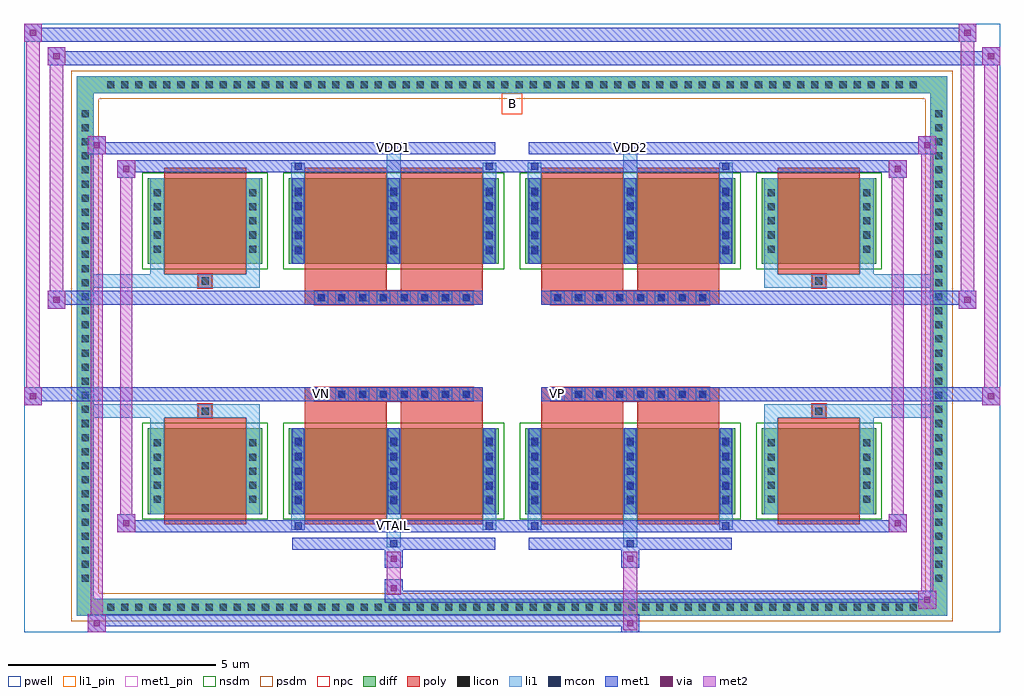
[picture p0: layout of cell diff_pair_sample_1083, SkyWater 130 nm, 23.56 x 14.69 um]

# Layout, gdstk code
import gdstk
lib = gdstk.Library(unit=1e-6, precision=5e-09)
def R(c, l, rs):  # rectangles x0, y0, x1, y1
    for r in rs: c.add(gdstk.rectangle(r[:2], r[2:], *l))
def A(c, l, x, y, w, h, nx, ny, dx, dy):  # array of equal rectangles
    R(c, l, [(x+i*dx, y+j*dy, x+i*dx+w, y+j*dy+h) for i in range(nx) for j in range(ny)])
def P(c, l, *ps):  # polygons
    for p in ps: c.add(gdstk.Polygon(p, *l))
pwell = (64, 44)
diff = (65, 20)
poly = (66, 20)
licon = (66, 44)
li1_pin = (67, 16)
li1 = (67, 20)
mcon = (67, 44)
met1_pin = (68, 16)
met1 = (68, 20)
via = (68, 44)
met2 = (69, 20)
nsdm = (93, 44)
psdm = (94, 20)
npc = (95, 20)

diff_pair_sample_1083 = lib.new_cell('diff_pair_sample_1083')
R(diff_pair_sample_1083, pwell, [(-11.78,-6.91,11.78,7.78), (-9.1,-5.1,-0.01,-0.8), (0.01,-5.1,9.1,-0.8), (-9.1,0.8,-0.01,5.1), (0.01,0.8,9.1,5.1)])
A(diff_pair_sample_1083, diff, -9.895, -6.51, 0.41, 0.41, 58, 2, 0.34, 12.61)
A(diff_pair_sample_1083, diff, -10.51, -5.815, 0.41, 0.41, 1, 34, 0, 0.34)
A(diff_pair_sample_1083, diff, 10.1, -5.815, 0.41, 0.41, 1, 34, 0, 0.34)
R(diff_pair_sample_1083, diff, [(-9.895,-6.51,9.895,-6.1), (-10.51,-5.815,-10.1,5.815), (10.1,-5.815,10.51,5.815), (-8.79,-4.055,-6.03,-1.985), (-5.39,-4.055,-0.32,-1.985), (0.32,-4.055,5.39,-1.985), (6.03,-4.055,8.79,-1.985), (-8.79,1.985,-6.03,4.055), (-5.39,1.985,-0.32,4.055), (0.32,1.985,5.39,4.055), (6.03,1.985,8.79,4.055), (-9.895,6.1,9.895,6.51)])
P(diff_pair_sample_1083, diff, [(10.51,6.51),(-10.51,6.51),(-10.51,-6.1),(-10.1,-6.1),(-10.1,6.1),(10.1,6.1),(10.1,-6.1),(-10.1,-6.1),(-10.51,-6.1),(-10.51,-6.51),(10.51,-6.51)])
A(diff_pair_sample_1083, poly, -4.77, -1.33, 0.33, 0.33, 8, 2, 0.5, 2.33)
A(diff_pair_sample_1083, poly, 0.94, -1.33, 0.33, 0.33, 8, 2, 0.5, 2.33)
R(diff_pair_sample_1083, poly, [(-8.4,-4.305,-6.42,-1.735), (-5,-4.305,-3.02,-1.735), (-2.69,-4.305,-0.71,-1.735), (0.71,-4.305,2.69,-1.735), (3.02,-4.305,5,-1.735), (6.42,-4.305,8.4,-1.735), (-7.575,-1.735,-7.245,-1.405), (-7.575,-1.735,-7.245,-1.405), (-5,-1.735,-3.02,-1.33), (-2.69,-1.735,-0.71,-1.33), (0.71,-1.735,2.69,-1.33), (3.02,-1.735,5,-1.33), (7.245,-1.735,7.575,-1.405), (7.245,-1.735,7.575,-1.405), (-5,-1.33,-0.71,-1), (0.71,-1.33,5,-1), (-5,1,-0.71,1.33), (0.71,1,5,1.33), (-5,1.33,-3.02,1.735), (-2.69,1.33,-0.71,1.735), (0.71,1.33,2.69,1.735), (3.02,1.33,5,1.735), (-7.575,1.405,-7.245,1.735), (-7.575,1.405,-7.245,1.735), (7.245,1.405,7.575,1.735), (7.245,1.405,7.575,1.735), (-8.4,1.735,-6.42,4.305), (-5,1.735,-3.02,4.305), (-2.69,1.735,-0.71,4.305), (0.71,1.735,2.69,4.305), (3.02,1.735,5,4.305), (6.42,1.735,8.4,4.305)])
A(diff_pair_sample_1083, licon, -9.775, -6.39, 0.17, 0.17, 58, 2, 0.34, 12.61)
A(diff_pair_sample_1083, licon, -10.39, -5.695, 0.17, 0.17, 1, 34, 0, 0.34)
A(diff_pair_sample_1083, licon, 10.22, -5.695, 0.17, 0.17, 1, 34, 0, 0.34)
A(diff_pair_sample_1083, licon, -8.65, -3.785, 0.17, 0.17, 1, 5, 0, 0.34)
A(diff_pair_sample_1083, licon, -6.34, -3.785, 0.17, 0.17, 1, 5, 0, 0.34)
A(diff_pair_sample_1083, licon, -5.25, -3.785, 0.17, 0.17, 3, 5, 2.31, 0.34)
A(diff_pair_sample_1083, licon, 0.46, -3.785, 0.17, 0.17, 3, 5, 2.31, 0.34)
A(diff_pair_sample_1083, licon, 6.17, -3.785, 0.17, 0.17, 1, 5, 0, 0.34)
A(diff_pair_sample_1083, licon, 8.48, -3.785, 0.17, 0.17, 1, 5, 0, 0.34)
A(diff_pair_sample_1083, licon, -4.69, -1.25, 0.17, 0.17, 8, 2, 0.5, 2.33)
A(diff_pair_sample_1083, licon, 1.02, -1.25, 0.17, 0.17, 8, 2, 0.5, 2.33)
A(diff_pair_sample_1083, licon, -8.65, 2.255, 0.17, 0.17, 1, 5, 0, 0.34)
A(diff_pair_sample_1083, licon, -6.34, 2.255, 0.17, 0.17, 1, 5, 0, 0.34)
A(diff_pair_sample_1083, licon, -5.25, 2.255, 0.17, 0.17, 3, 5, 2.31, 0.34)
A(diff_pair_sample_1083, licon, 0.46, 2.255, 0.17, 0.17, 3, 5, 2.31, 0.34)
A(diff_pair_sample_1083, licon, 6.17, 2.255, 0.17, 0.17, 1, 5, 0, 0.34)
A(diff_pair_sample_1083, licon, 8.48, 2.255, 0.17, 0.17, 1, 5, 0, 0.34)
R(diff_pair_sample_1083, licon, [(-7.495,-1.655,-7.325,-1.485), (7.325,-1.655,7.495,-1.485), (-7.495,1.485,-7.325,1.655), (7.325,1.485,7.495,1.655)])
R(diff_pair_sample_1083, li1_pin, [(-0.25,5.6,0.25,6.1)])
A(diff_pair_sample_1083, li1, -9.855, -6.47, 0.33, 0.33, 58, 2, 0.34, 12.61)
A(diff_pair_sample_1083, li1, -10.47, -5.775, 0.33, 0.33, 1, 34, 0, 0.34)
A(diff_pair_sample_1083, li1, 10.14, -5.775, 0.33, 0.33, 1, 34, 0, 0.34)
A(diff_pair_sample_1083, li1, -5.33, -4.055, 0.33, 2.07, 3, 2, 2.31, 6.04)
A(diff_pair_sample_1083, li1, 0.38, -4.055, 0.33, 2.07, 3, 2, 2.31, 6.04)
A(diff_pair_sample_1083, li1, -8.73, -3.865, 0.33, 0.33, 1, 5, 0, 0.34)
A(diff_pair_sample_1083, li1, -6.42, -3.865, 0.33, 0.33, 1, 5, 0, 0.34)
A(diff_pair_sample_1083, li1, -5.33, -3.865, 0.33, 0.33, 3, 5, 2.31, 0.34)
A(diff_pair_sample_1083, li1, 0.38, -3.865, 0.33, 0.33, 3, 5, 2.31, 0.34)
A(diff_pair_sample_1083, li1, 6.09, -3.865, 0.33, 0.33, 1, 5, 0, 0.34)
A(diff_pair_sample_1083, li1, 8.4, -3.865, 0.33, 0.33, 1, 5, 0, 0.34)
A(diff_pair_sample_1083, li1, -5.25, -3.825, 0.17, 0.17, 3, 5, 2.31, 0.36)
A(diff_pair_sample_1083, li1, -5.25, -3.825, 0.17, 1.61, 3, 2, 2.31, 6.04)
A(diff_pair_sample_1083, li1, 0.46, -3.825, 0.17, 0.17, 3, 5, 2.31, 0.36)
A(diff_pair_sample_1083, li1, 0.46, -3.825, 0.17, 1.61, 3, 2, 2.31, 6.04)
A(diff_pair_sample_1083, li1, -4.77, -1.33, 0.33, 0.33, 8, 2, 0.5, 2.33)
A(diff_pair_sample_1083, li1, 0.94, -1.33, 0.33, 0.33, 8, 2, 0.5, 2.33)
A(diff_pair_sample_1083, li1, -8.73, 2.175, 0.33, 0.33, 1, 5, 0, 0.34)
A(diff_pair_sample_1083, li1, -6.42, 2.175, 0.33, 0.33, 1, 5, 0, 0.34)
A(diff_pair_sample_1083, li1, -5.33, 2.175, 0.33, 0.33, 3, 5, 2.31, 0.34)
A(diff_pair_sample_1083, li1, 0.38, 2.175, 0.33, 0.33, 3, 5, 2.31, 0.34)
A(diff_pair_sample_1083, li1, 6.09, 2.175, 0.33, 0.33, 1, 5, 0, 0.34)
A(diff_pair_sample_1083, li1, 8.4, 2.175, 0.33, 0.33, 1, 5, 0, 0.34)
A(diff_pair_sample_1083, li1, -5.25, 2.215, 0.17, 0.17, 3, 5, 2.31, 0.36)
A(diff_pair_sample_1083, li1, 0.46, 2.215, 0.17, 0.17, 3, 5, 2.31, 0.36)
R(diff_pair_sample_1083, li1, [(-10.51,-6.51,-10.1,-6.1), (-10.51,-6.51,-10.1,-6.1), (-10.1,-6.51,10.1,-6.1), (10.1,-6.51,10.51,-6.1), (10.1,-6.51,10.51,-6.1), (-10.51,-6.1,-10.1,6.1), (10.1,-6.1,10.51,6.1), (-3.02,-4.86,-2.69,-4.055), (-2.94,-4.86,-2.77,-4.69), (2.69,-4.86,3.02,-4.055), (2.77,-4.86,2.94,-4.69), (-5.33,-4.43,-5,-4.055), (-5.25,-4.43,-5.08,-4.26), (-0.71,-4.43,-0.38,-4.055), (-0.63,-4.43,-0.46,-4.26), (0.38,-4.43,0.71,-4.055), (0.46,-4.43,0.63,-4.26), (5,-4.43,5.33,-4.055), (5.08,-4.43,5.25,-4.26), (-8.73,-4.055,-8.4,-1.985), (-6.42,-4.055,-6.09,-1.985), (6.09,-4.055,6.42,-1.985), (8.4,-4.055,8.73,-1.985), (-8.73,-1.985,-8.4,-1.405), (-6.42,-1.985,-6.09,-1.405), (6.09,-1.985,6.42,-1.405), (8.4,-1.985,8.73,-1.405), (-10.51,-1.735,-7.575,-1.405), (-8.73,-1.735,-7.575,-1.405), (-7.575,-1.735,-7.245,-1.405), (-7.245,-1.735,-6.09,-1.405), (6.09,-1.735,7.245,-1.405), (7.245,-1.735,7.575,-1.405), (7.245,-1.735,10.51,-1.405), (7.575,-1.735,8.73,-1.405), (-10.51,1.405,-7.575,1.735), (-8.73,1.405,-7.575,1.735), (-8.73,1.405,-8.4,1.985), (-7.575,1.405,-7.245,1.735), (-7.245,1.405,-6.09,1.735), (-6.42,1.405,-6.09,1.985), (6.09,1.405,7.245,1.735), (6.09,1.405,6.42,1.985), (7.245,1.405,7.575,1.735), (7.245,1.405,10.51,1.735), (7.575,1.405,8.73,1.735), (8.4,1.405,8.73,1.985), (-8.73,1.985,-8.4,4.055), (-6.42,1.985,-6.09,4.055), (6.09,1.985,6.42,4.055), (8.4,1.985,8.73,4.055), (-5.33,4.055,-5,4.43), (-3.02,4.055,-2.69,4.86), (-0.71,4.055,-0.38,4.43), (0.38,4.055,0.71,4.43), (2.69,4.055,3.02,4.86), (5,4.055,5.33,4.43), (-5.25,4.26,-5.08,4.43), (-0.63,4.26,-0.46,4.43), (0.46,4.26,0.63,4.43), (5.08,4.26,5.25,4.43), (-2.94,4.69,-2.77,4.86), (2.77,4.69,2.94,4.86), (-10.51,6.1,-10.1,6.51), (-10.51,6.1,-10.1,6.51), (-10.1,6.1,10.1,6.51), (10.1,6.1,10.51,6.51), (10.1,6.1,10.51,6.51)])
A(diff_pair_sample_1083, mcon, -5.25, -3.825, 0.17, 0.17, 3, 5, 2.31, 0.36)
A(diff_pair_sample_1083, mcon, 0.46, -3.825, 0.17, 0.17, 3, 5, 2.31, 0.36)
A(diff_pair_sample_1083, mcon, -4.69, -1.25, 0.17, 0.17, 8, 2, 0.5, 2.33)
A(diff_pair_sample_1083, mcon, 1.02, -1.25, 0.17, 0.17, 8, 2, 0.5, 2.33)
A(diff_pair_sample_1083, mcon, -5.25, 2.215, 0.17, 0.17, 3, 5, 2.31, 0.36)
A(diff_pair_sample_1083, mcon, 0.46, 2.215, 0.17, 0.17, 3, 5, 2.31, 0.36)
R(diff_pair_sample_1083, mcon, [(-2.94,-4.86,-2.77,-4.69), (2.77,-4.86,2.94,-4.69), (-5.25,-4.43,-5.08,-4.26), (-0.63,-4.43,-0.46,-4.26), (0.46,-4.43,0.63,-4.26), (5.08,-4.43,5.25,-4.26), (-5.25,4.26,-5.08,4.43), (-0.63,4.26,-0.46,4.43), (0.46,4.26,0.63,4.43), (5.08,4.26,5.25,4.43), (-2.94,4.69,-2.77,4.86), (2.77,4.69,2.94,4.86)])
R(diff_pair_sample_1083, met1_pin, [(-2.99,-4.47,-2.72,-4.2), (-4.74,-1.29,-4.47,-1.02), (0.97,-1.29,1.24,-1.02), (-2.99,4.65,-2.72,4.92), (2.72,4.65,2.99,4.92)])
A(diff_pair_sample_1083, met1, -5.31, -4.055, 0.29, 2.07, 3, 2, 2.31, 6.04)
A(diff_pair_sample_1083, met1, 0.4, -4.055, 0.29, 2.07, 3, 2, 2.31, 6.04)
A(diff_pair_sample_1083, met1, -5.31, -3.885, 0.29, 0.29, 3, 5, 2.31, 0.36)
A(diff_pair_sample_1083, met1, 0.4, -3.885, 0.29, 0.29, 3, 5, 2.31, 0.36)
A(diff_pair_sample_1083, met1, -4.75, -1.31, 0.29, 0.29, 8, 2, 0.5, 2.33)
A(diff_pair_sample_1083, met1, 0.96, -1.31, 0.29, 0.29, 8, 2, 0.5, 2.33)
A(diff_pair_sample_1083, met1, -5.31, 2.155, 0.29, 0.29, 3, 5, 2.31, 0.36)
A(diff_pair_sample_1083, met1, 0.4, 2.155, 0.29, 0.29, 3, 5, 2.31, 0.36)
R(diff_pair_sample_1083, met1, [(-10.24,-6.91,-9.81,-6.48), (2.64,-6.91,3.07,-6.48), (-10.24,-6.77,3.07,-6.48), (9.81,-6.34,10.24,-5.91), (-3.07,-6.2,10.24,-5.91), (-3.07,-6.06,-2.64,-5.63), (-3.07,-5.35,-2.64,-4.92), (2.64,-5.35,3.07,-4.92), (-5.31,-4.92,-0.4,-4.63), (-3,-4.92,-2.71,-4.63), (0.4,-4.92,5.31,-4.63), (2.71,-4.92,3,-4.63), (-9.53,-4.49,-9.1,-4.06), (-9.53,-4.49,-5.31,-4.2), (-5.31,-4.49,-5.02,-4.2), (-5.31,-4.49,-0.4,-4.2), (-0.69,-4.49,-0.4,-4.2), (-0.4,-4.49,0.4,-4.2), (0.4,-4.49,0.69,-4.2), (0.4,-4.49,5.31,-4.2), (5.02,-4.49,5.31,-4.2), (5.31,-4.49,9.53,-4.2), (9.1,-4.49,9.53,-4.06), (-11.78,-1.43,-11.35,-1), (11.35,-1.43,11.78,-1), (-11.78,-1.33,-0.71,-1), (-5,-1.33,-0.71,-1), (0.71,-1.33,5,-1), (0.71,-1.33,11.78,-1), (-11.21,0.9,-10.78,1.33), (10.78,0.9,11.21,1.33), (-11.21,1,-5,1.33), (-5,1,-0.71,1.33), (0.71,1,5,1.33), (5,1,11.21,1.33), (-9.53,4.06,-9.1,4.49), (9.1,4.06,9.53,4.49), (-9.53,4.2,-5.31,4.49), (-5.31,4.2,-5.02,4.49), (-5.31,4.2,-0.4,4.49), (-0.69,4.2,-0.4,4.49), (-0.4,4.2,0.4,4.49), (0.4,4.2,0.69,4.49), (0.4,4.2,5.31,4.49), (5.02,4.2,5.31,4.49), (5.31,4.2,9.53,4.49), (-10.24,4.63,-9.81,5.06), (-10.24,4.63,-5.31,4.92), (-5.31,4.63,-0.4,4.92), (-3,4.63,-2.71,4.92), (0.4,4.63,5.31,4.92), (2.71,4.63,3,4.92), (5.31,4.63,10.24,4.92), (9.81,4.63,10.24,5.06), (-11.21,6.78,-10.78,7.21), (-11.21,6.78,-9.1,7.11), (-9.1,6.78,9.1,7.11), (9.1,6.78,11.78,7.11), (11.35,6.78,11.78,7.21), (-11.78,7.35,-11.35,7.78), (-11.78,7.35,-9.1,7.68), (-9.1,7.35,9.1,7.68), (9.1,7.35,11.21,7.68), (10.78,7.35,11.21,7.78)])
R(diff_pair_sample_1083, via, [(-10.1,-6.77,-9.95,-6.62), (2.78,-6.77,2.93,-6.62), (9.95,-6.2,10.1,-6.05), (-2.93,-5.92,-2.78,-5.77), (-2.93,-5.21,-2.78,-5.06), (2.78,-5.21,2.93,-5.06), (-9.39,-4.35,-9.24,-4.2), (9.24,-4.35,9.39,-4.2), (-11.64,-1.29,-11.49,-1.14), (11.49,-1.29,11.64,-1.14), (-11.07,1.04,-10.92,1.19), (10.92,1.04,11.07,1.19), (-9.39,4.2,-9.24,4.35), (9.24,4.2,9.39,4.35), (-10.1,4.77,-9.95,4.92), (9.95,4.77,10.1,4.92), (-11.07,6.92,-10.92,7.07), (11.49,6.92,11.64,7.07), (-11.64,7.49,-11.49,7.64), (10.92,7.49,11.07,7.64)])
R(diff_pair_sample_1083, met2, [(-10.24,-6.91,-9.81,-6.48), (-10.17,-6.91,-9.88,5.06), (-9.88,-6.91,-9.81,-6.48), (-10.19,-6.86,-9.86,-6.53), (2.69,-6.86,3.02,-6.53), (2.69,-6.53,3.02,-5.3), (9.81,-6.34,10.24,-5.91), (9.88,-6.34,10.17,5.06), (10.17,-6.34,10.24,-5.91), (9.86,-6.29,10.19,-5.96), (-3.02,-6.01,-2.69,-5.68), (-3.02,-5.68,-2.69,-5.3), (-3.02,-5.3,-2.69,-4.97), (2.69,-5.3,3.02,-4.97), (-9.53,-4.49,-9.1,-4.06), (-9.46,-4.49,-9.17,4.49), (-9.17,-4.49,-9.1,-4.06), (9.1,-4.49,9.53,-4.06), (9.17,-4.49,9.46,4.49), (9.46,-4.49,9.53,-4.06), (-9.48,-4.44,-9.15,-4.11), (9.15,-4.44,9.48,-4.11), (-11.78,-1.43,-11.35,-1), (-11.73,-1.43,-11.4,7.78), (-11.4,-1.43,-11.35,-1), (11.35,-1.43,11.78,-1), (11.4,-1.43,11.73,7.21), (11.73,-1.43,11.78,-1), (-11.73,-1.38,-11.4,-1.05), (11.4,-1.38,11.73,-1.05), (-11.21,0.9,-10.78,1.33), (-11.16,0.9,-10.83,7.21), (-10.83,0.9,-10.78,1.33), (10.78,0.9,11.21,1.33), (10.83,0.9,11.16,7.78), (11.16,0.9,11.21,1.33), (-11.16,0.95,-10.83,1.28), (10.83,0.95,11.16,1.28), (-9.53,4.06,-9.1,4.49), (-9.17,4.06,-9.1,4.49), (9.1,4.06,9.53,4.49), (9.46,4.06,9.53,4.49), (-9.48,4.11,-9.15,4.44), (9.15,4.11,9.48,4.44), (-10.24,4.63,-9.81,5.06), (-9.88,4.63,-9.81,5.06), (9.81,4.63,10.24,5.06), (10.17,4.63,10.24,5.06), (-10.19,4.68,-9.86,5.01), (9.86,4.68,10.19,5.01), (-11.21,6.78,-10.78,7.21), (-10.83,6.78,-10.78,7.21), (11.35,6.78,11.78,7.21), (11.73,6.78,11.78,7.21), (-11.16,6.83,-10.83,7.16), (11.4,6.83,11.73,7.16), (-11.78,7.35,-11.35,7.78), (-11.4,7.35,-11.35,7.78), (10.78,7.35,11.21,7.78), (11.16,7.35,11.21,7.78), (-11.73,7.4,-11.4,7.73), (10.83,7.4,11.16,7.73)])
R(diff_pair_sample_1083, nsdm, [(-8.92,-4.185,-5.9,-1.855), (-5.52,-4.185,-0.19,-1.855), (0.19,-4.185,5.52,-1.855), (5.9,-4.185,8.92,-1.855), (-8.92,1.855,-5.9,4.185), (-5.52,1.855,-0.19,4.185), (0.19,1.855,5.52,4.185), (5.9,1.855,8.92,4.185)])
P(diff_pair_sample_1083, psdm, [(10.64,6.64),(-10.64,6.64),(-10.64,-5.97),(-9.97,-5.97),(-9.97,5.97),(9.97,5.97),(9.97,-5.97),(-9.97,-5.97),(-10.64,-5.97),(-10.64,-6.64),(10.64,-6.64)])
A(diff_pair_sample_1083, npc, -4.79, -1.35, 0.37, 0.37, 8, 2, 0.5, 2.33)
A(diff_pair_sample_1083, npc, 0.92, -1.35, 0.37, 0.37, 8, 2, 0.5, 2.33)
R(diff_pair_sample_1083, npc, [(-7.595,-1.755,-7.225,-1.385), (7.225,-1.755,7.595,-1.385), (-4.79,-1.35,-3.92,-0.98), (-4.79,-1.35,-3.92,-0.98), (-4.29,-1.35,-3.42,-0.98), (-4.29,-1.35,-3.42,-0.98), (-3.79,-1.35,-2.92,-0.98), (-3.79,-1.35,-2.92,-0.98), (-3.29,-1.35,-2.42,-0.98), (-3.29,-1.35,-2.42,-0.98), (-2.79,-1.35,-1.92,-0.98), (-2.79,-1.35,-1.92,-0.98), (-2.29,-1.35,-1.42,-0.98), (-2.29,-1.35,-1.42,-0.98), (-1.79,-1.35,-0.92,-0.98), (-1.79,-1.35,-0.92,-0.98), (0.92,-1.35,1.79,-0.98), (0.92,-1.35,1.79,-0.98), (1.42,-1.35,2.29,-0.98), (1.42,-1.35,2.29,-0.98), (1.92,-1.35,2.79,-0.98), (1.92,-1.35,2.79,-0.98), (2.42,-1.35,3.29,-0.98), (2.42,-1.35,3.29,-0.98), (2.92,-1.35,3.79,-0.98), (2.92,-1.35,3.79,-0.98), (3.42,-1.35,4.29,-0.98), (3.42,-1.35,4.29,-0.98), (3.92,-1.35,4.79,-0.98), (3.92,-1.35,4.79,-0.98), (-4.79,0.98,-3.92,1.35), (-4.79,0.98,-3.92,1.35), (-4.29,0.98,-3.42,1.35), (-4.29,0.98,-3.42,1.35), (-3.79,0.98,-2.92,1.35), (-3.79,0.98,-2.92,1.35), (-3.29,0.98,-2.42,1.35), (-3.29,0.98,-2.42,1.35), (-2.79,0.98,-1.92,1.35), (-2.79,0.98,-1.92,1.35), (-2.29,0.98,-1.42,1.35), (-2.29,0.98,-1.42,1.35), (-1.79,0.98,-0.92,1.35), (-1.79,0.98,-0.92,1.35), (0.92,0.98,1.79,1.35), (0.92,0.98,1.79,1.35), (1.42,0.98,2.29,1.35), (1.42,0.98,2.29,1.35), (1.92,0.98,2.79,1.35), (1.92,0.98,2.79,1.35), (2.42,0.98,3.29,1.35), (2.42,0.98,3.29,1.35), (2.92,0.98,3.79,1.35), (2.92,0.98,3.79,1.35), (3.42,0.98,4.29,1.35), (3.42,0.98,4.29,1.35), (3.92,0.98,4.79,1.35), (3.92,0.98,4.79,1.35), (-7.595,1.385,-7.225,1.755), (7.225,1.385,7.595,1.755)])
diff_pair_sample_1083.add(gdstk.Label('VTAIL', (-2.855,-4.335), layer=68, texttype=5))
diff_pair_sample_1083.add(gdstk.Label('VN', (-4.605,-1.155), layer=68, texttype=5))
diff_pair_sample_1083.add(gdstk.Label('VP', (1.105,-1.155), layer=68, texttype=5))
diff_pair_sample_1083.add(gdstk.Label('B', (0,5.85), layer=67, texttype=5))
diff_pair_sample_1083.add(gdstk.Label('VDD2', (2.855,4.785), layer=68, texttype=5))
diff_pair_sample_1083.add(gdstk.Label('VDD1', (-2.855,4.785), layer=68, texttype=5))

lib.write_gds('diff_pair_sample_1083.gds')
